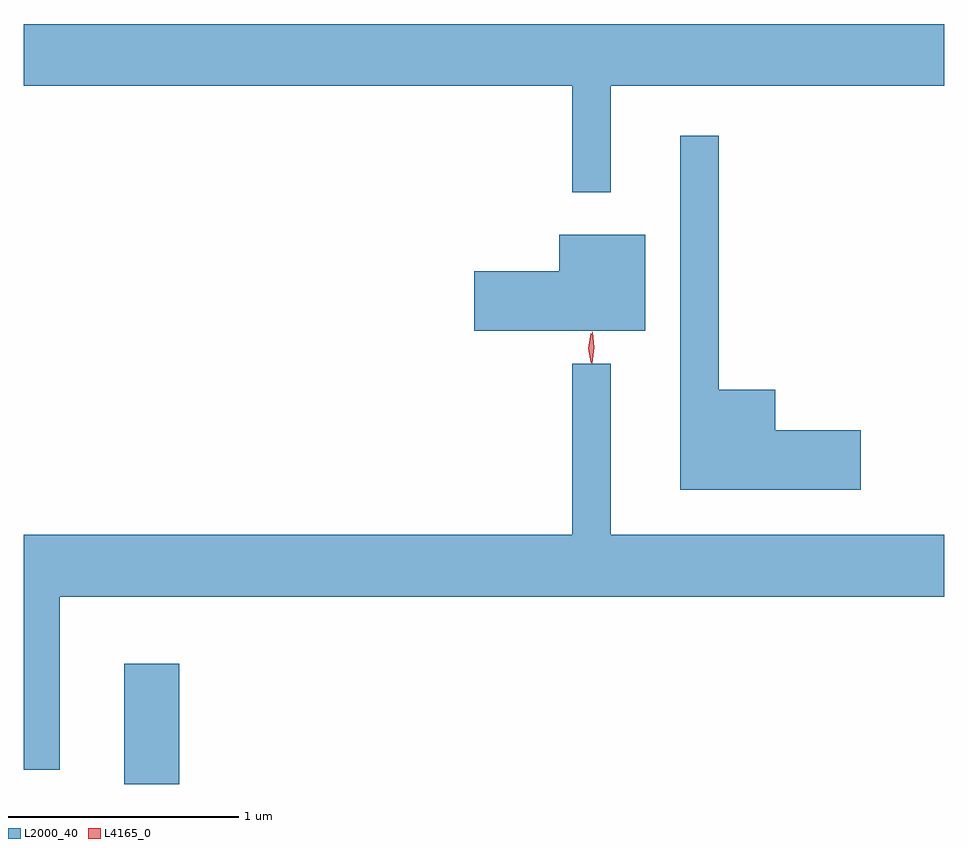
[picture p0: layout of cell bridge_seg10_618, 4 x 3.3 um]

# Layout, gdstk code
import gdstk
lib = gdstk.Library(unit=1e-6, precision=1e-09)
def R(c, l, rs):  # rectangles x0, y0, x1, y1
    for r in rs: c.add(gdstk.rectangle(r[:2], r[2:], *l))
def P(c, l, *ps):  # polygons
    for p in ps: c.add(gdstk.Polygon(p, *l))
L2000_40 = (2000, 40)
L4165_0 = (4165, 0)

bridge_seg10_618 = lib.new_cell('bridge_seg10_618')
R(bridge_seg10_618, L2000_40, [(689.596,2086.462,689.834,2086.984)])
P(bridge_seg10_618, L2000_40, [(691.709,2089.496),(693.158,2089.496),(693.158,2089.764),(689.158,2089.764),(689.158,2089.496),(691.541,2089.496),(691.541,2089.033),(691.709,2089.033)],
  [(692.794,2087.999),(692.424,2087.999),(692.424,2088.174),(692.179,2088.174),(692.179,2089.278),(692.011,2089.278),(692.011,2087.741),(692.794,2087.741)],
  [(691.859,2088.849),(691.486,2088.849),(691.486,2088.689),(691.116,2088.689),(691.116,2088.431),(691.859,2088.431)],
  [(689.314,2087.276),(693.158,2087.276),(693.158,2087.544),(691.709,2087.544),(691.709,2088.288),(691.541,2088.288),(691.541,2087.544),(689.158,2087.544),(689.158,2086.523),(689.314,2086.523)])
P(bridge_seg10_618, L4165_0, [(691.627,2088.29),(691.618,2088.358),(691.629,2088.425),(691.629,2088.426),(691.63,2088.425),(691.638,2088.358),(691.628,2088.29),(691.628,2088.29)],
  [(691.622,2088.293),(691.622,2088.294),(691.612,2088.356),(691.622,2088.419),(691.622,2088.42),(691.623,2088.419),(691.632,2088.356),(691.623,2088.294)])

lib.write_gds('bridge_seg10_618.gds')
